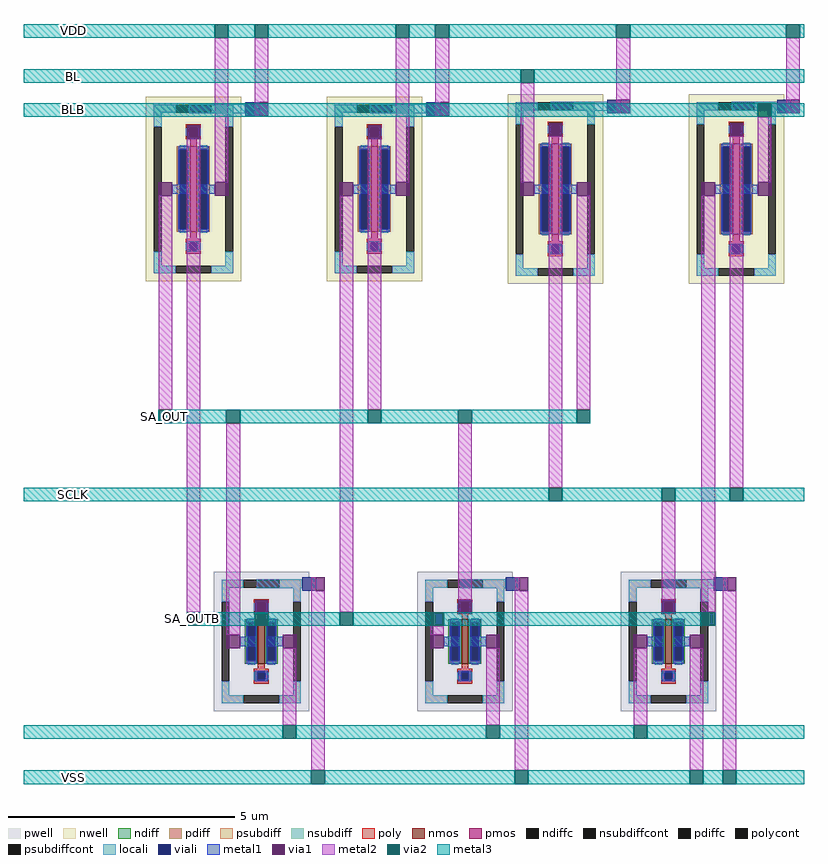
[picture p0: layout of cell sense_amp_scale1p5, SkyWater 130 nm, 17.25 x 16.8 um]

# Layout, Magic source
magic
tech sky130A
magscale 1 2
<< locali >>
rect 280 -665 530 -625
rect 1080 -665 1330 -625
rect 1880 -654 2130 -614
rect 2680 -654 2880 -614
rect 580 -2765 780 -2725
rect 1480 -2765 1680 -2725
rect 2380 -2765 2600 -2725
<< viali >>
rect 530 -675 590 -615
rect 1330 -675 1390 -615
rect 2130 -664 2190 -604
rect 2880 -664 2940 -604
rect 780 -2775 840 -2715
rect 1680 -2775 1740 -2715
rect 2600 -2775 2660 -2715
<< metal1 >>
rect 206 -1020 276 -980
rect 324 -1020 394 -980
rect 1006 -1020 1076 -980
rect 1124 -1020 1194 -980
rect 1806 -1020 1876 -980
rect 1924 -1020 1994 -980
rect 2606 -1020 2676 -980
rect 2724 -1020 2794 -980
rect 506 -3020 576 -2980
rect 624 -3020 694 -2980
rect 1406 -3020 1476 -2980
rect 1524 -3020 1594 -2980
rect 2306 -3020 2376 -2980
rect 2424 -3020 2494 -2980
<< via1 >>
rect 590 -675 630 -615
rect 1390 -675 1430 -615
rect 2190 -664 2230 -604
rect 2940 -664 2980 -604
rect 270 -777 330 -717
rect 1070 -777 1130 -717
rect 1870 -766 1930 -706
rect 2670 -766 2730 -706
rect 146 -1030 206 -970
rect 394 -1030 454 -970
rect 946 -1030 1006 -970
rect 1194 -1030 1254 -970
rect 1746 -1030 1806 -970
rect 1994 -1030 2054 -970
rect 2546 -1030 2606 -970
rect 2794 -1030 2854 -970
rect 840 -2775 880 -2715
rect 1740 -2775 1780 -2715
rect 2660 -2775 2700 -2715
rect 570 -2877 630 -2817
rect 1470 -2877 1530 -2817
rect 2370 -2877 2430 -2817
rect 446 -3030 506 -2970
rect 694 -3030 754 -2970
rect 1346 -3030 1406 -2970
rect 1594 -3030 1654 -2970
rect 2246 -3030 2306 -2970
rect 2494 -3030 2554 -2970
<< metal2 >>
rect 146 -1975 206 -1030
rect 270 -2870 330 -777
rect 394 -970 454 -330
rect 570 -615 630 -330
rect 570 -675 590 -615
rect 446 -2970 506 -2035
rect 820 -2775 840 -2715
rect 694 -3370 754 -3030
rect 820 -3570 880 -2775
rect 946 -2870 1006 -1030
rect 1070 -1975 1130 -777
rect 1194 -970 1254 -330
rect 1370 -615 1430 -330
rect 1370 -675 1390 -615
rect 1746 -970 1806 -530
rect 2170 -604 2230 -330
rect 2170 -664 2190 -604
rect 2920 -604 2980 -330
rect 2920 -664 2940 -604
rect 1470 -2817 1530 -2035
rect 1870 -2320 1930 -766
rect 1994 -1975 2054 -1030
rect 1720 -2775 1740 -2715
rect 1346 -2970 1406 -2930
rect 1594 -3370 1654 -3030
rect 1720 -3570 1780 -2775
rect 2370 -2817 2430 -2380
rect 2546 -2870 2606 -1030
rect 2670 -2320 2730 -766
rect 2794 -970 2854 -680
rect 2640 -2775 2660 -2715
rect 2246 -3370 2306 -3030
rect 2494 -3570 2554 -3030
rect 2640 -3570 2700 -2775
<< via2 >>
rect 394 -330 454 -270
rect 146 -2035 206 -1975
rect 570 -330 630 -270
rect 1194 -330 1254 -270
rect 270 -2930 330 -2870
rect 446 -2035 506 -1975
rect 570 -2930 630 -2877
rect 694 -3430 754 -3370
rect 1370 -330 1430 -270
rect 2170 -330 2230 -270
rect 1746 -530 1806 -470
rect 2920 -330 2980 -270
rect 2794 -680 2854 -620
rect 1070 -2035 1130 -1975
rect 1470 -2035 1530 -1975
rect 1994 -2035 2054 -1975
rect 1870 -2380 1930 -2320
rect 2370 -2380 2430 -2320
rect 946 -2930 1006 -2870
rect 1346 -2930 1406 -2870
rect 1594 -3430 1654 -3370
rect 820 -3630 880 -3570
rect 2670 -2380 2730 -2320
rect 2546 -2930 2606 -2870
rect 2246 -3430 2306 -3370
rect 1720 -3630 1780 -3570
rect 2494 -3630 2554 -3570
rect 2640 -3630 2700 -3570
<< metal3 >>
rect -450 -330 394 -270
rect 454 -330 570 -270
rect 630 -330 1194 -270
rect 1254 -330 1370 -270
rect 1430 -330 2170 -270
rect 2230 -330 2920 -270
rect 2980 -330 3000 -270
rect -450 -530 1746 -470
rect 1806 -530 3000 -470
rect -450 -680 2794 -620
rect 2854 -680 3000 -620
rect 145 -2035 146 -1975
rect 206 -2035 446 -1975
rect 506 -2035 1070 -1975
rect 1130 -2035 1470 -1975
rect 1530 -2035 1994 -1975
rect 2054 -2035 2055 -1975
rect -450 -2380 1870 -2320
rect 1930 -2380 2370 -2320
rect 2430 -2380 2670 -2320
rect 2730 -2380 3000 -2320
rect 330 -2877 946 -2870
rect 330 -2930 570 -2877
rect 630 -2930 946 -2877
rect 1006 -2930 1346 -2870
rect 1406 -2930 2546 -2870
rect 2606 -2930 2607 -2870
rect -450 -3430 694 -3370
rect 754 -3430 1594 -3370
rect 1654 -3430 2246 -3370
rect 2306 -3430 3000 -3370
rect -450 -3630 820 -3570
rect 880 -3630 1720 -3570
rect 1780 -3630 2494 -3570
rect 2554 -3630 2640 -3570
rect 2700 -3630 3000 -3570
use sky130_fd_pr__nfet_01v8_5X7PA6  XMN1
transform 1 0 600 0 1 -3000
box -211 -308 211 308
use sky130_fd_pr__nfet_01v8_5X7PA6  XMN2
transform 1 0 1500 0 1 -3000
box -211 -308 211 308
use sky130_fd_pr__pfet_01v8_MSZDL2  XMP1
transform 1 0 300 0 1 -1000
box -211 -408 211 408
use sky130_fd_pr__pfet_01v8_MSZDL2  XMP2
transform 1 0 1100 0 1 -1000
box -211 -408 211 408
use sky130_fd_pr__pfet_01v8_XLV5ZZ  XMSAMPBL
transform 1 0 1900 0 1 -1000
box -211 -419 211 419
use sky130_fd_pr__pfet_01v8_XLV5ZZ  XMSAMPBLB
transform 1 0 2700 0 1 -1000
box -211 -419 211 419
use sky130_fd_pr__nfet_01v8_5X7PA6  XMTAIL
transform 1 0 2400 0 1 -3000
box -211 -308 211 308
<< labels >>
rlabel metal3 -255 -325 -205 -275 0 VDD
port 0 n
rlabel metal3 -255 -3625 -205 -3575 0 VSS
port 1 n
rlabel metal3 -255 -525 -205 -475 0 BL
port 2 n
rlabel metal3 -255 -675 -205 -625 0 BLB
port 3 n
rlabel metal3 -255 -2375 -205 -2325 0 SCLK
port 4 n
rlabel metal3 145 -2030 195 -1980 0 SA_OUT
port 5 n
rlabel metal3 270 -2925 320 -2875 0 SA_OUTB
port 6 n
<< end >>

# cell sky130_fd_pr__nfet_01v8_5X7PA6: kit device sky130_fd_pr__nfet_01v8, w 0.975 l 0.15 m 1 nf 1 diffcov 100 polycov 100 guard 1 glc 1 grc 1 gtc 1 gbc 1 tbcov 100 rlcov 100 topc 1 botc 1 poverlap 0 doverlap 1 lmin 0.15 wmin 0.42 class mosfet compatible {sky130_fd_pr__nfet_01v8 sky130_fd_pr__nfet_01v8_lvt sky130_fd_bs_flash__special_sonosfet_star sky130_fd_pr__nfet_g5v0d10v5 sky130_fd_pr__nfet_05v0_nvt sky130_fd_pr__nfet_03v3_nvt} full_metal 1 viasrc 100 viadrn 100 viagate 100 viagb 0 viagr 0 viagl 0 viagt 0

# cell sky130_fd_pr__pfet_01v8_MSZDL2: kit device sky130_fd_pr__pfet_01v8, w 1.89 l 0.15 m 1 nf 1 diffcov 100 polycov 100 guard 1 glc 1 grc 1 gtc 1 gbc 1 tbcov 100 rlcov 100 topc 1 botc 1 poverlap 0 doverlap 1 lmin 0.15 wmin 0.42 class mosfet compatible {sky130_fd_pr__pfet_01v8 sky130_fd_pr__pfet_01v8_lvt sky130_fd_pr__pfet_01v8_hvt sky130_fd_pr__pfet_g5v0d10v5} full_metal 1 viasrc 100 viadrn 100 viagate 100 viagb 0 viagr 0 viagl 0 viagt 0

# cell sky130_fd_pr__pfet_01v8_XLV5ZZ: kit device sky130_fd_pr__pfet_01v8, w 2.0 l 0.15 m 1 nf 1 diffcov 100 polycov 100 guard 1 glc 1 grc 1 gtc 1 gbc 1 tbcov 100 rlcov 100 topc 1 botc 1 poverlap 0 doverlap 1 lmin 0.15 wmin 0.42 class mosfet compatible {sky130_fd_pr__pfet_01v8 sky130_fd_pr__pfet_01v8_lvt sky130_fd_pr__pfet_01v8_hvt sky130_fd_pr__pfet_g5v0d10v5} full_metal 1 viasrc 100 viadrn 100 viagate 100 viagb 0 viagr 0 viagl 0 viagt 0
